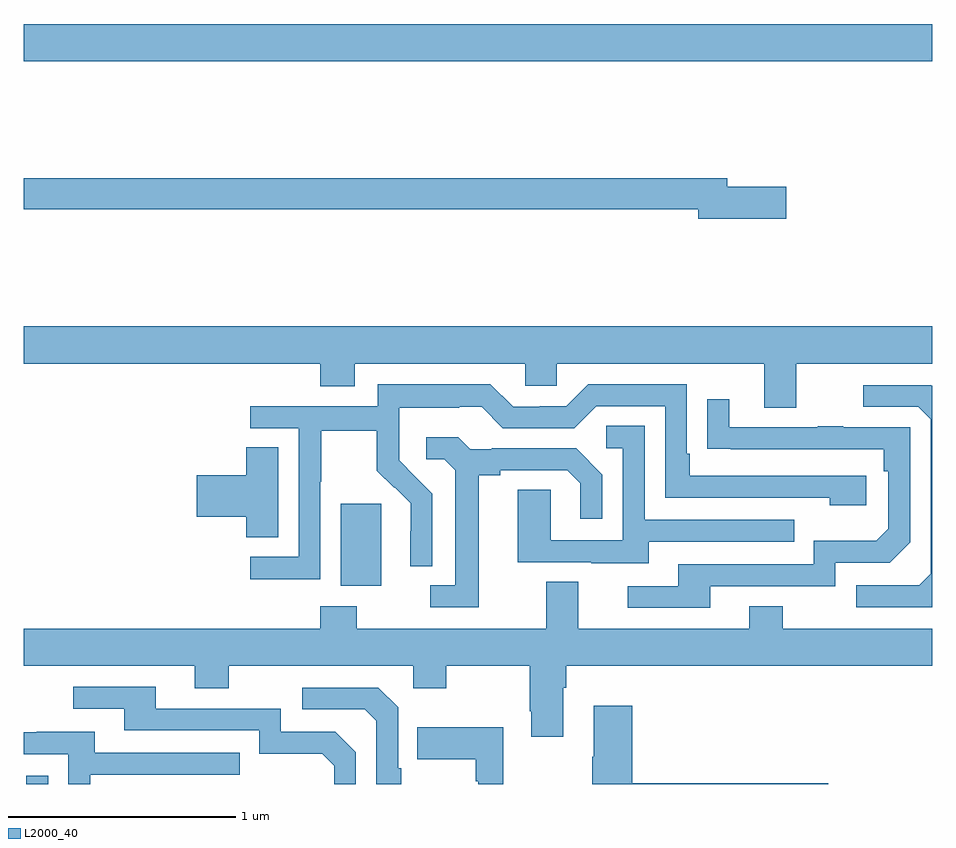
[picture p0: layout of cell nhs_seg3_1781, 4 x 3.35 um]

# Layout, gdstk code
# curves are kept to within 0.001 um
import gdstk
lib = gdstk.Library(unit=1e-6, precision=1e-09)
def R(c, l, rs):  # rectangles x0, y0, x1, y1
    for r in rs: c.add(gdstk.rectangle(r[:2], r[2:], *l))
def P(c, l, *ps):  # polygons
    for p in ps: c.add(gdstk.Polygon(p, *l))
L2000_40 = (2000, 40)

nhs_seg3_1781 = lib.new_cell('nhs_seg3_1781')
R(nhs_seg3_1781, L2000_40, [(203.009,696.4,203.106,696.436), (204.395,697.274,204.574,697.635), (203,699.584,207,699.748)])
P(nhs_seg3_1781, L2000_40, [(206.359,699.032),(206.098,699.032),(206.098,699.068),(203,699.068),(203,698.932),(205.97,698.932),(205.97,698.89),(206.359,698.89)],
  [(206.401,698.252),(207,698.252),(207,698.416),(203,698.416),(203,698.252),(204.305,698.252),(204.305,698.153),(204.457,698.153),(204.457,698.252),(205.209,698.252),(205.209,698.154),(205.347,698.154),(205.347,698.252),(206.261,698.252),(206.261,698.058),(206.401,698.058)],
  [(204.306,697.732),(204.309,697.732),(204.309,697.956),(204.553,697.956),(204.553,697.781),(204.63,697.704),(204.633,697.707),(204.704,697.637),(204.704,697.514),(204.702,697.514),(204.702,697.36),(204.798,697.36),(204.798,697.678),(204.652,697.826),(204.652,697.923),(204.654,697.923),(204.654,698.057),(204.917,698.057),(204.917,698.061),(205.017,698.061),(205.11,697.968),(205.425,697.968),(205.521,698.064),(205.824,698.064),(205.824,697.662),(206.549,697.662),(206.549,697.628),(206.71,697.628),(206.71,697.758),(205.933,697.758),(205.933,697.855),(205.92,697.855),(205.92,698.16),(205.485,698.16),(205.389,698.064),(205.271,698.064),(205.271,698.061),(205.155,698.061),(205.055,698.161),(204.558,698.161),(204.558,698.064),(203.997,698.064),(203.997,697.968),(204.21,697.968),(204.21,697.401),(203.997,697.401),(203.997,697.303),(204.306,697.303)],
  [(207,698.154),(206.997,698.157),(206.697,698.157),(206.697,698.061),(206.94,698.061),(206.994,698.007),(206.994,697.326),(206.943,697.275),(206.667,697.275),(206.667,697.179),(207,697.179)],
  [(206.023,697.272),(206.574,697.272),(206.574,697.374),(206.814,697.374),(206.904,697.464),(206.904,697.971),(206.609,697.971),(206.609,697.976),(206.497,697.976),(206.497,697.971),(206.107,697.971),(206.107,698.095),(206.011,698.095),(206.011,697.876),(206.788,697.875),(206.788,697.778),(206.808,697.778),(206.808,697.524),(206.755,697.471),(206.478,697.471),(206.478,697.368),(205.883,697.368),(205.883,697.272),(205.659,697.272),(205.659,697.176),(206.023,697.176)],
  [(205.753,697.467),(206.393,697.467),(206.393,697.563),(205.734,697.563),(205.734,697.979),(205.566,697.979),(205.566,697.878),(205.638,697.878),(205.638,697.473),(205.32,697.473),(205.32,697.697),(205.175,697.697),(205.175,697.377),(205.499,697.377),(205.499,697.373),(205.753,697.373)],
  [(205.003,697.76),(205.099,697.76),(205.099,697.782),(205.394,697.782),(205.451,697.725),(205.451,697.569),(205.548,697.569),(205.548,697.762),(205.432,697.878),(205.06,697.878),(205.06,697.875),(204.966,697.875),(204.914,697.927),(204.771,697.927),(204.771,697.83),(204.852,697.83),(204.899,697.783),(204.899,697.275),(204.789,697.275),(204.789,697.179),(205.003,697.179)],
  [(204.121,697.883),(203.978,697.883),(203.978,697.76),(203.76,697.76),(203.76,697.577),(203.978,697.577),(203.978,697.486),(204.121,697.486)],
  [(205.375,696.824),(205.388,696.824),(205.388,696.92),(207,696.92),(207,697.084),(206.343,697.084),(206.343,697.183),(206.195,697.183),(206.195,697.084),(205.441,697.084),(205.441,697.292),(205.301,697.292),(205.301,697.084),(204.465,697.084),(204.465,697.183),(204.305,697.183),(204.305,697.084),(203,697.084),(203,696.92),(203.753,696.92),(203.753,696.821),(203.901,696.821),(203.901,696.92),(204.714,696.92),(204.714,696.821),(204.861,696.821),(204.861,696.92),(205.228,696.92),(205.228,696.721),(205.235,696.721),(205.235,696.609),(205.375,696.609)],
  [(204.462,696.54),(204.372,696.63),(204.132,696.63),(204.132,696.732),(203.581,696.732),(203.581,696.828),(203.217,696.828),(203.217,696.732),(203.441,696.732),(203.441,696.636),(204.036,696.636),(204.036,696.533),(204.313,696.533),(204.366,696.48),(204.366,696.4),(204.462,696.4)],
  [(204.661,696.469),(204.648,696.469),(204.648,696.738),(204.561,696.825),(204.225,696.825),(204.225,696.729),(204.501,696.729),(204.552,696.678),(204.552,696.4),(204.661,696.4)],
  [(206.542,696.404),(205.679,696.404),(205.679,696.745),(205.511,696.745),(205.511,696.521),(205.504,696.521),(205.504,696.4),(206.542,696.4)],
  [(205.111,696.649),(204.733,696.649),(204.733,696.509),(204.99,696.509),(204.99,696.413),(205.002,696.413),(205.002,696.4),(205.111,696.4)],
  [(203.292,696.441),(203.951,696.441),(203.951,696.537),(203.311,696.537),(203.311,696.631),(203.057,696.631),(203.057,696.627),(203,696.627),(203,696.531),(203.196,696.531),(203.196,696.4),(203.292,696.4)])

lib.write_gds('nhs_seg3_1781.gds')
